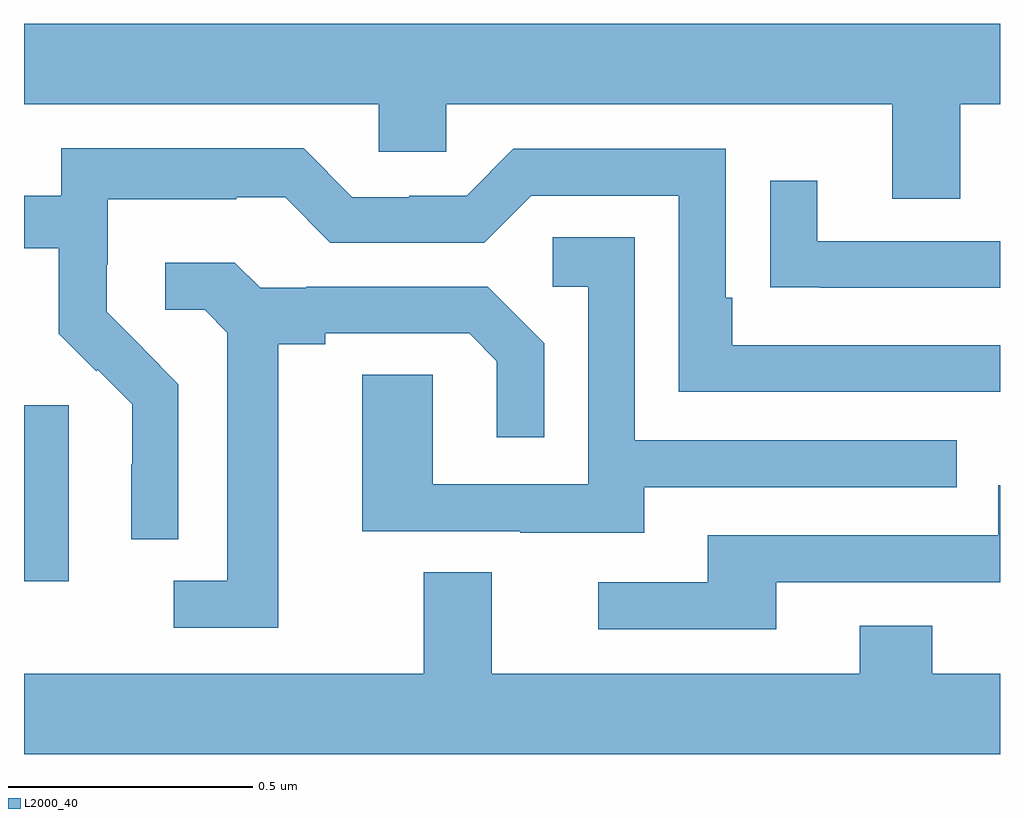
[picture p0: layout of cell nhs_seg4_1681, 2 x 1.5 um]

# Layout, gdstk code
import gdstk
lib = gdstk.Library(unit=1e-6, precision=1e-09)
def R(c, l, rs):  # rectangles x0, y0, x1, y1
    for r in rs: c.add(gdstk.rectangle(r[:2], r[2:], *l))
def P(c, l, *ps):  # polygons
    for p in ps: c.add(gdstk.Polygon(p, *l))
L2000_40 = (2000, 40)

nhs_seg4_1681 = lib.new_cell('nhs_seg4_1681')
R(nhs_seg4_1681, L2000_40, [(131,798.506,131.092,798.867)])
P(nhs_seg4_1681, L2000_40, [(132.919,799.484),(133,799.484),(133,799.648),(131,799.648),(131,799.484),(131.727,799.484),(131.727,799.386),(131.865,799.386),(131.865,799.484),(132.779,799.484),(132.779,799.29),(132.919,799.29)],
  [(131.316,798.91),(131.243,798.983),(131.244,798.984),(131.17,799.058),(131.17,799.155),(131.172,799.155),(131.172,799.289),(131.435,799.289),(131.435,799.293),(131.535,799.293),(131.628,799.2),(131.943,799.2),(132.039,799.296),(132.342,799.296),(132.342,798.894),(133,798.894),(133,798.99),(132.451,798.99),(132.451,799.087),(132.438,799.087),(132.438,799.392),(132.003,799.392),(131.907,799.296),(131.789,799.296),(131.789,799.293),(131.673,799.293),(131.573,799.393),(131.076,799.393),(131.076,799.296),(131,799.296),(131,799.188),(131.071,799.188),(131.071,799.013),(131.148,798.936),(131.151,798.939),(131.222,798.869),(131.222,798.746),(131.22,798.746),(131.22,798.592),(131.316,798.592)],
  [(133,799.203),(132.625,799.203),(132.625,799.327),(132.529,799.327),(132.529,799.108),(132.631,799.108),(132.631,799.107),(133,799.107)],
  [(132.271,798.699),(132.911,798.699),(132.911,798.795),(132.252,798.795),(132.252,799.211),(132.084,799.211),(132.084,799.11),(132.156,799.11),(132.156,798.705),(131.838,798.705),(131.838,798.929),(131.693,798.929),(131.693,798.609),(132.017,798.609),(132.017,798.605),(132.271,798.605)],
  [(131.521,798.992),(131.617,798.992),(131.617,799.014),(131.912,799.014),(131.969,798.957),(131.969,798.801),(132.066,798.801),(132.066,798.994),(131.95,799.11),(131.578,799.11),(131.578,799.107),(131.484,799.107),(131.432,799.159),(131.289,799.159),(131.289,799.062),(131.37,799.062),(131.417,799.015),(131.417,798.507),(131.307,798.507),(131.307,798.411),(131.521,798.411)],
  [(132.541,798.504),(133,798.504),(133,798.703),(132.996,798.703),(132.996,798.6),(132.401,798.6),(132.401,798.504),(132.177,798.504),(132.177,798.408),(132.541,798.408)],
  [(133,798.316),(132.861,798.316),(132.861,798.415),(132.713,798.415),(132.713,798.316),(131.959,798.316),(131.959,798.524),(131.819,798.524),(131.819,798.316),(131,798.316),(131,798.152),(133,798.152)])

lib.write_gds('nhs_seg4_1681.gds')
